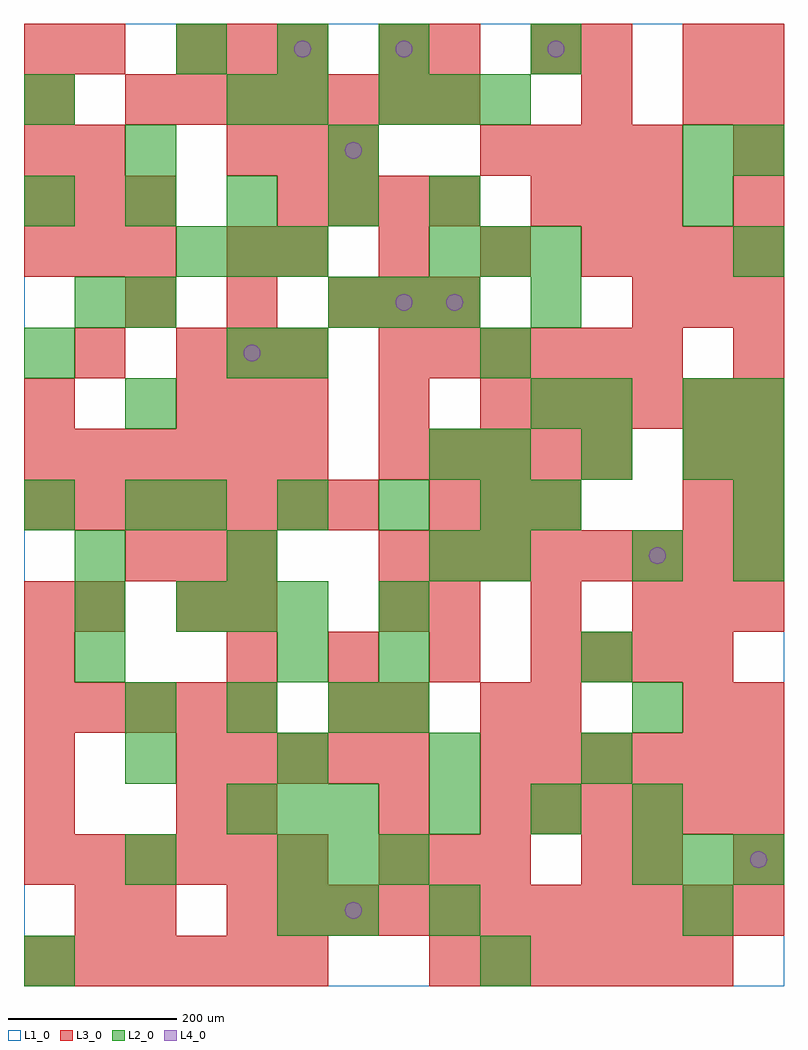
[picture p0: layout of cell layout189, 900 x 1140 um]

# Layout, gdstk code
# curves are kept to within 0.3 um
import gdstk
lib = gdstk.Library(unit=1e-6, precision=1e-09)
def R(c, l, rs):  # rectangles x0, y0, x1, y1
    for r in rs: c.add(gdstk.rectangle(r[:2], r[2:], *l))
def A(c, l, x, y, w, h, nx, ny, dx, dy):  # array of equal rectangles
    R(c, l, [(x+i*dx, y+j*dy, x+i*dx+w, y+j*dy+h) for i in range(nx) for j in range(ny)])
def P(c, l, *ps):  # polygons
    for p in ps: c.add(gdstk.Polygon(p, *l))
L1_0 = (1, 0)
L2_0 = (2, 0)
L3_0 = (3, 0)
L4_0 = (4, 0)

layout189 = lib.new_cell('layout189')
R(layout189, L1_0, [(0,0,900,1140)])
A(layout189, L2_0, 300, 120, 60, 60, 3, 1, 60, 0)
A(layout189, L2_0, 720, 120, 60, 60, 3, 1, 60, 0)
A(layout189, L2_0, 240, 180, 60, 60, 3, 1, 60, 0)
A(layout189, L2_0, 480, 180, 60, 60, 3, 1, 120, 0)
A(layout189, L2_0, 120, 240, 60, 60, 4, 1, 180, 0)
A(layout189, L2_0, 120, 300, 60, 60, 3, 1, 120, 0)
A(layout189, L2_0, 420, 300, 60, 60, 1, 3, 0, 60)
A(layout189, L2_0, 60, 360, 60, 60, 1, 3, 0, 60)
A(layout189, L2_0, 180, 420, 60, 60, 3, 2, 60, 420)
A(layout189, L2_0, 840, 480, 60, 60, 1, 4, 0, 60)
A(layout189, L2_0, 120, 540, 60, 60, 1, 3, 0, 120)
A(layout189, L2_0, 180, 540, 60, 60, 4, 1, 120, 0)
A(layout189, L2_0, 600, 540, 60, 60, 1, 3, 0, 120)
A(layout189, L2_0, 540, 600, 60, 60, 3, 1, 120, 0)
A(layout189, L2_0, 360, 780, 60, 60, 3, 1, 60, 0)
A(layout189, L2_0, 480, 840, 60, 60, 3, 1, 60, 0)
A(layout189, L2_0, 0, 900, 60, 60, 5, 1, 120, 0)
A(layout189, L2_0, 420, 1020, 60, 60, 3, 1, 60, 0)
A(layout189, L2_0, 180, 1080, 60, 60, 3, 1, 120, 0)
R(layout189, L2_0, [(0,0,60,60), (540,0,600,60), (300,60,360,120), (360,60,420,120), (480,60,540,120), (780,60,840,120), (120,120,180,180), (720,300,780,360), (300,360,360,420), (660,360,720,420), (240,480,300,540), (480,480,540,540), (540,480,600,540), (720,480,780,540), (0,540,60,600), (480,600,540,660), (660,660,720,720), (780,660,840,720), (0,720,60,780), (240,720,300,780), (300,720,360,780), (540,720,600,780), (60,780,120,840), (840,840,900,900), (780,900,840,960), (120,960,180,1020), (360,960,420,1020), (780,960,840,1020), (840,960,900,1020), (0,1020,60,1080), (240,1020,300,1080), (300,1020,360,1080), (600,1080,660,1140)])
A(layout189, L3_0, 0, 0, 60, 60, 6, 2, 60, 120)
A(layout189, L3_0, 480, 0, 60, 60, 6, 1, 60, 0)
A(layout189, L3_0, 240, 60, 60, 60, 11, 1, 60, 0)
A(layout189, L3_0, 420, 120, 60, 60, 3, 1, 60, 0)
A(layout189, L3_0, 420, 180, 60, 60, 1, 3, 0, 120)
A(layout189, L3_0, 540, 180, 60, 60, 6, 2, 60, 60)
A(layout189, L3_0, 180, 240, 60, 60, 5, 1, 60, 0)
A(layout189, L3_0, 0, 300, 60, 60, 5, 1, 60, 0)
A(layout189, L3_0, 780, 300, 60, 60, 1, 3, 0, 120)
A(layout189, L3_0, 840, 300, 60, 60, 1, 3, 0, 120)
A(layout189, L3_0, 240, 360, 60, 60, 4, 1, 120, 0)
A(layout189, L3_0, 660, 360, 60, 60, 3, 1, 60, 0)
A(layout189, L3_0, 480, 420, 60, 60, 3, 1, 120, 0)
A(layout189, L3_0, 120, 480, 60, 60, 3, 1, 60, 0)
A(layout189, L3_0, 420, 480, 60, 60, 8, 1, 60, 0)
A(layout189, L3_0, 0, 540, 60, 60, 7, 1, 60, 0)
A(layout189, L3_0, 480, 540, 60, 60, 3, 1, 60, 0)
A(layout189, L3_0, 0, 600, 60, 60, 6, 1, 60, 0)
A(layout189, L3_0, 420, 600, 60, 60, 5, 1, 60, 0)
A(layout189, L3_0, 180, 660, 60, 60, 3, 2, 60, 60)
A(layout189, L3_0, 540, 660, 60, 60, 6, 1, 60, 0)
A(layout189, L3_0, 420, 720, 60, 60, 6, 1, 60, 0)
A(layout189, L3_0, 120, 780, 60, 60, 3, 1, 120, 0)
A(layout189, L3_0, 720, 780, 60, 60, 3, 2, 60, 60)
A(layout189, L3_0, 0, 840, 60, 60, 3, 2, 60, 60)
A(layout189, L3_0, 300, 840, 60, 60, 4, 1, 120, 0)
A(layout189, L3_0, 300, 900, 60, 60, 4, 1, 60, 0)
A(layout189, L3_0, 600, 900, 60, 60, 3, 1, 60, 0)
A(layout189, L3_0, 840, 900, 60, 60, 1, 4, 0, 60)
A(layout189, L3_0, 0, 960, 60, 60, 1, 3, 0, 60)
A(layout189, L3_0, 240, 960, 60, 60, 3, 1, 60, 0)
A(layout189, L3_0, 540, 960, 60, 60, 4, 1, 60, 0)
A(layout189, L3_0, 120, 1020, 60, 60, 7, 1, 60, 0)
A(layout189, L3_0, 180, 1080, 60, 60, 3, 1, 60, 0)
R(layout189, L3_0, [(60,60,120,120), (120,60,180,120), (660,120,720,180), (720,120,780,180), (840,120,900,180), (0,180,60,240), (180,180,240,240), (240,180,300,240), (0,240,60,300), (360,300,420,360), (540,300,600,360), (600,300,660,360), (0,360,60,420), (0,420,60,480), (60,420,120,480), (180,420,240,480), (240,420,300,480), (780,600,840,660), (840,600,900,660), (0,660,60,720), (420,660,480,720), (60,720,120,780), (840,720,900,780), (420,780,480,840), (480,780,540,840), (240,840,300,900), (60,960,120,1020), (660,1020,720,1080), (780,1020,840,1080), (60,1080,120,1140), (420,1080,480,1140), (480,1080,540,1140), (600,1080,660,1140), (660,1080,720,1140), (780,1080,840,1140)])
P(layout189, L4_0, [(280,750),(279.239,753.827),(277.071,757.071),(273.827,759.239),(270,760),(266.173,759.239),(262.929,757.071),(260.761,753.827),(260,750),(260.761,746.173),(262.929,742.929),(266.173,740.761),(270,740),(273.827,740.761),(277.071,742.929),(279.239,746.173)],
  [(340,1110),(339.239,1113.827),(337.071,1117.071),(333.827,1119.239),(330,1120),(326.173,1119.239),(322.929,1117.071),(320.761,1113.827),(320,1110),(320.761,1106.173),(322.929,1102.929),(326.173,1100.761),(330,1100),(333.827,1100.761),(337.071,1102.929),(339.239,1106.173)],
  [(400,90),(399.239,93.827),(397.071,97.071),(393.827,99.239),(390,100),(386.173,99.239),(382.929,97.071),(380.761,93.827),(380,90),(380.761,86.173),(382.929,82.929),(386.173,80.761),(390,80),(393.827,80.761),(397.071,82.929),(399.239,86.173)],
  [(400,990),(399.239,993.827),(397.071,997.071),(393.827,999.239),(390,1000),(386.173,999.239),(382.929,997.071),(380.761,993.827),(380,990),(380.761,986.173),(382.929,982.929),(386.173,980.761),(390,980),(393.827,980.761),(397.071,982.929),(399.239,986.173)],
  [(460,810),(459.239,813.827),(457.071,817.071),(453.827,819.239),(450,820),(446.173,819.239),(442.929,817.071),(440.761,813.827),(440,810),(440.761,806.173),(442.929,802.929),(446.173,800.761),(450,800),(453.827,800.761),(457.071,802.929),(459.239,806.173)],
  [(460,1110),(459.239,1113.827),(457.071,1117.071),(453.827,1119.239),(450,1120),(446.173,1119.239),(442.929,1117.071),(440.761,1113.827),(440,1110),(440.761,1106.173),(442.929,1102.929),(446.173,1100.761),(450,1100),(453.827,1100.761),(457.071,1102.929),(459.239,1106.173)],
  [(520,810),(519.239,813.827),(517.071,817.071),(513.827,819.239),(510,820),(506.173,819.239),(502.929,817.071),(500.761,813.827),(500,810),(500.761,806.173),(502.929,802.929),(506.173,800.761),(510,800),(513.827,800.761),(517.071,802.929),(519.239,806.173)],
  [(640,1110),(639.239,1113.827),(637.071,1117.071),(633.827,1119.239),(630,1120),(626.173,1119.239),(622.929,1117.071),(620.761,1113.827),(620,1110),(620.761,1106.173),(622.929,1102.929),(626.173,1100.761),(630,1100),(633.827,1100.761),(637.071,1102.929),(639.239,1106.173)],
  [(760,510),(759.239,513.827),(757.071,517.071),(753.827,519.239),(750,520),(746.173,519.239),(742.929,517.071),(740.761,513.827),(740,510),(740.761,506.173),(742.929,502.929),(746.173,500.761),(750,500),(753.827,500.761),(757.071,502.929),(759.239,506.173)],
  [(880,150),(879.239,153.827),(877.071,157.071),(873.827,159.239),(870,160),(866.173,159.239),(862.929,157.071),(860.761,153.827),(860,150),(860.761,146.173),(862.929,142.929),(866.173,140.761),(870,140),(873.827,140.761),(877.071,142.929),(879.239,146.173)])

lib.write_gds('layout189.gds')
